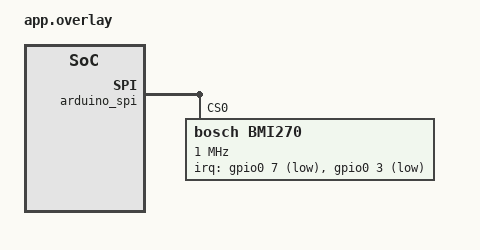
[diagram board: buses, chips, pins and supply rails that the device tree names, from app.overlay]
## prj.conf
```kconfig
CONFIG_STDOUT_CONSOLE=y
CONFIG_SPI=y
CONFIG_SENSOR=y
CONFIG_NEWLIB_LIBC=y
CONFIG_NEWLIB_LIBC_FLOAT_PRINTF=y
CONFIG_BMI270_TRIGGER_OWN_THREAD=y
```

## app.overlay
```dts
/*
 * Copyright (c) 2021 Bosch Sensortec GmbH
 *
 * SPDX-License-Identifier: Apache-2.0
 */

&arduino_spi {
	status = "okay";
	bmi270@0 {
		compatible = "bosch,bmi270","bosch,bmi270-base";
		reg = <0x0>;
		spi-max-frequency = <1000000>;
		irq-gpios = <&gpio0 7 (GPIO_ACTIVE_LOW)>,
					<&gpio0 3 (GPIO_ACTIVE_LOW)>;
	};
};
```

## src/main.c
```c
/*
 * Copyright © Kazimierz Roman
 *
 *
 */

#include <zephyr/kernel.h>
#include <zephyr/device.h>
#include <zephyr/drivers/sensor.h>
#include <stdio.h>
#include <../../../../drivers/sensor/bmi270/bmi270.h>
#include "bmi2_defs.h"
#include "bmi270_api.h"

/******************************************************************************/
/*!                  Macros                                                   */

/*! Buffer size allocated to store raw FIFO data. */
#define BMI2_FIFO_RAW_DATA_BUFFER_SIZE UINT16_C(2048)

/*! Length of data to be read from FIFO. */
#define BMI2_FIFO_RAW_DATA_USER_LENGTH UINT16_C(2048)

/*! Number of accel frames to be extracted from FIFO. */

/*! Calculation for frame count: Total frame count = Fifo buffer size(2048)/ Total frames(6 Accel, 6 Gyro and 1 header,
 * totaling to 13) which equals to 157.
 *
 * Extra frames to parse sensortime data
 */
#define BMI2_FIFO_ACCEL_FRAME_COUNT UINT8_C(185)

/*! Number of gyro frames to be extracted from FIFO. */
#define BMI2_FIFO_GYRO_FRAME_COUNT UINT8_C(185)

/*! Macro to read sensortime byte in FIFO. */
#define SENSORTIME_OVERHEAD_BYTE UINT8_C(220)

/******************************************************************************/
/*!                        Global Variables                                   */

volatile uint8_t interrupt_status = 0;

/* To read sensortime, extra 3 bytes are added to fifo buffer. */
uint16_t fifo_buffer_size = BMI2_FIFO_RAW_DATA_BUFFER_SIZE + SENSORTIME_OVERHEAD_BYTE;

/* Number of bytes of FIFO data
 * NOTE : Dummy byte (for SPI Interface) required for FIFO data read must be given as part of array size
 * Array size same as fifo_buffer_size
 * FROM BMI270 datasheet: That means, for a basic read operation two bytes have to be read and the first has to be dropped and the second byte must be interpreted.
 * wydaje sie ze ten dummy byte jest pomijany już wcześniej w funkcji odpowiedzialnej za odczyt rejestrów bmi270 po SPI (bmi270_reg_read_spi) dlatego tutaj go pomijam
 */

uint8_t fifo_data[BMI2_FIFO_RAW_DATA_BUFFER_SIZE + SENSORTIME_OVERHEAD_BYTE];

/* Array of accelerometer frames -> Total bytes =
 * 157 * (6 axes + 1 header bytes) = 1099 bytes */
struct bmi2_sens_axes_data fifo_accel_data[BMI2_FIFO_ACCEL_FRAME_COUNT] = {{0}};

/* Array of gyro frames -> Total bytes =
 * 157 * (6 axes + 1 header bytes) = 1099 bytes */
struct bmi2_sens_axes_data fifo_gyro_data[BMI2_FIFO_GYRO_FRAME_COUNT] = {{0}};

/******************************************************************************/
/*!                GPIO setup												 */
#define SW0_NODE DT_ALIAS(sw0)
static const struct gpio_dt_spec button0 = GPIO_DT_SPEC_GET_OR(SW0_NODE, gpios,
															   {0});
static struct gpio_callback button0_cb_data;

/******************************************************************************/
/*!                Callbacks                                     */

void button0_pressed(const struct device *dev, struct gpio_callback *cb,
					 uint32_t pins)
{
	interrupt_status = 1;
	printf("Button 0 pressed at %" PRIu32 "\n", k_cycle_get_32());
}

void main(void)
{
	uint64_t sens_en_stat = 0;
	// anymotion
	//  sens_en_stat |= BMI2_ANY_MOT_SEL;
	// nomotion
	// sens_en_stat |= BMI2_NO_MOT_SEL;

	gpio_init_manual(&button0);
	gpio_callback_config_manual(&button0_cb_data, button0_pressed, &button0);

	const struct device *const dev = DEVICE_DT_GET_ONE(bosch_bmi270);
	struct sensor_value acc[3], gyr[3];

	/* Status of api are returned to this variable. */
	int8_t rslt;

	uint16_t index = 0;
	uint16_t fifo_length = 0;

	/* Variable to get fifo full interrupt status. */

	uint16_t accel_frame_length = BMI2_FIFO_ACCEL_FRAME_COUNT;

	uint16_t gyro_frame_length = BMI2_FIFO_GYRO_FRAME_COUNT;

	int8_t try = 1;

	/* Initialize FIFO frame structure. */
	struct bmi2_fifo_frame fifoframe = {0};

	/* Update FIFO structure. */
	/* Mapping the buffer to store the fifo data. */
	fifoframe.data = fifo_data;

	/* Length of FIFO frame. */
	/* To read sensortime, extra 3 bytes are added to fifo user length. */
	fifoframe.length = BMI2_FIFO_RAW_DATA_USER_LENGTH + SENSORTIME_OVERHEAD_BYTE;

	uint8_t reg_read;

	bmi270_init(dev);

	// testing purpose only
	bmi270_reg_read(dev, BMI270_REG_INT2_IO_CTRL, &reg_read, 1);
	printf("INT2_IO_CTRL: %d\n", reg_read);

	bmi270_config_ffull_interrupt(dev, 1);
	bmi270_config_adv_power_save_mode(dev, 0);
	bmi270_config_fifo(dev, 0, 0, 1, 0);
	bmi270_basic_config_acc(dev, 2, 100, 1);
	bmi270_basic_config_gyr(dev, 500, 100, 1);

	struct bmi270_data *data = dev->data;
	while (try <= 10)
	{
		if (interrupt_status)
		{
			printf("\nIteration : %d\n", try);

			accel_frame_length = BMI2_FIFO_ACCEL_FRAME_COUNT;

			gyro_frame_length = BMI2_FIFO_GYRO_FRAME_COUNT;

			rslt = bmi270_get_fifo_length(&fifo_length, dev);
			printf("rslt bmi270_get_fifo_length: %d\n", rslt);

			/* Updating FIFO length to be read based on available length and dummy byte updation */
			fifoframe.length = fifo_length + SENSORTIME_OVERHEAD_BYTE;

			printf("\nFIFO data bytes available : %d \n", fifo_length);
			printf("\nFIFO data bytes requested : %d \n", fifoframe.length);

			rslt = bmi270_read_fifo_data(&fifoframe, dev, sens_en_stat, 1, 0);
			printf("rslt bmi270_get_fifo_data: %d\n", rslt);
			if (rslt == BMI2_OK)
			{
				printf("\nFIFO accel frames requested : %d \n", accel_frame_length);

				/* Parse the FIFO data to extract accelerometer data from the FIFO buffer. */
				(void)bmi270_extract_accel(fifo_accel_data, &accel_frame_length, &fifoframe, sens_en_stat);
				printf("\nFIFO accel frames extracted : %d \n", accel_frame_length);

				printf("\nExtracted accel frames\n");
				printf("ACCEL_DATA, X, Y, Z\n");

				/* Print the parsed accelerometer data from the FIFO buffer. */
				for (index = 0; index < accel_frame_length; index++)
				{
					channel_accel_convert_custom(&acc[0], fifo_accel_data[index].x, data->acc_range);
					channel_accel_convert_custom(&acc[1], fifo_accel_data[index].y, data->acc_range);
					channel_accel_convert_custom(&acc[2], fifo_accel_data[index].z, data->acc_range);
					printf("AX: %d.%06d; AY: %d.%06d; AZ: %d.%06d; \n",
						   acc[0].val1, acc[0].val2,
						   acc[1].val1, acc[1].val2,
						   acc[2].val1, acc[2].val2);
				}
				/* Print control frames like sensor time and skipped frame count. */
				printf("\nSkipped frame count = %d\n", fifoframe.skipped_frame_count);

				printf("Sensor time(in seconds) = %.4lf  s\r\n", (fifoframe.sensor_time * BMI2_SENSORTIME_RESOLUTION));

				try++;
				interrupt_status = 0;
			}
		}
	}
	while (1)
	{
		/* 10ms period, 100Hz Sampling frequency */
		k_sleep(K_MSEC(1000));

		sensor_sample_fetch(dev);

		sensor_channel_get(dev, SENSOR_CHAN_ACCEL_XYZ, acc);
		sensor_channel_get(dev, SENSOR_CHAN_GYRO_XYZ, gyr);

		printf("AX: %d.%06d; AY: %d.%06d; AZ: %d.%06d; "
			   "GX: %d.%06d; GY: %d.%06d; GZ: %d.%06d;\n",
			   acc[0].val1, acc[0].val2,
			   acc[1].val1, acc[1].val2,
			   acc[2].val1, acc[2].val2,
			   gyr[0].val1, gyr[0].val2,
			   gyr[1].val1, gyr[1].val2,
			   gyr[2].val1, gyr[2].val2);
	}
}
```

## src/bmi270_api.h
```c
/*
 * Copyright © Kazimierz Roman
 *
 *
 */
#include <zephyr/drivers/gpio.h>
#include "bmi2_defs.h"

void bmi270_init(const struct device *const bmi270_dev);
void bmi270_basic_config_acc(const struct device *const bmi270_dev, uint16_t full_scale, uint16_t sampling_freq, uint16_t oversampling);
void bmi270_basic_config_gyr(const struct device *const bmi270_dev, uint16_t full_scale, uint16_t sampling_freq, uint16_t oversampling);
void bmi270_config_anymotion_interrupt(const struct device *const bmi270_dev, uint16_t threshold, uint16_t duration);
void bmi270_config_nomotion_interrupt(const struct device *const bmi270_dev, uint16_t threshold, uint16_t duration);
void bmi270_set_anymotion_trigger(const struct device *const bmi270_dev, sensor_trigger_handler_t trigger_handler, struct sensor_trigger *trig);
void bmi270_set_nomotion_trigger(const struct device *const bmi270_dev, sensor_trigger_handler_t trigger_handler, struct sensor_trigger *trig);
void bmi270_config_ffull_interrupt(const struct device *const bmi270_dev, uint16_t ffifo_enable);
void bmi270_config_adv_power_save_mode(const struct device *const bmi270_dev, uint8_t enable);
void bmi270_config_fifo(const struct device *const bmi270_dev, uint8_t fifo_header_en, uint8_t fifo_aux_en, uint8_t fifo_acc_en, uint8_t fifo_gyr_en);

void gpio_init_manual(const struct gpio_dt_spec *spec);
void gpio_callback_config_manual(struct gpio_callback *callback_data, gpio_callback_handler_t handler, const struct gpio_dt_spec *spec);
int8_t bmi270_get_fifo_length(uint16_t *fifo_length, const struct device *dev);
int8_t bmi270_read_fifo_data(struct bmi2_fifo_frame *fifo, const struct device *dev, uint64_t sens_en_stat, bool spi, bool advanced_power_save);
int8_t bmi270_extract_accel(struct bmi2_sens_axes_data *accel_data, uint16_t *accel_length, struct bmi2_fifo_frame *fifo, uint64_t sens_en_stat);
int8_t bmi270_extract_gyro(struct bmi2_sens_axes_data *gyro_data, uint16_t *gyro_length, struct bmi2_fifo_frame *fifo, const struct bmi2_dev *dev);
void channel_accel_convert_custom(struct sensor_value *val, int64_t raw_val, uint8_t range);
```
